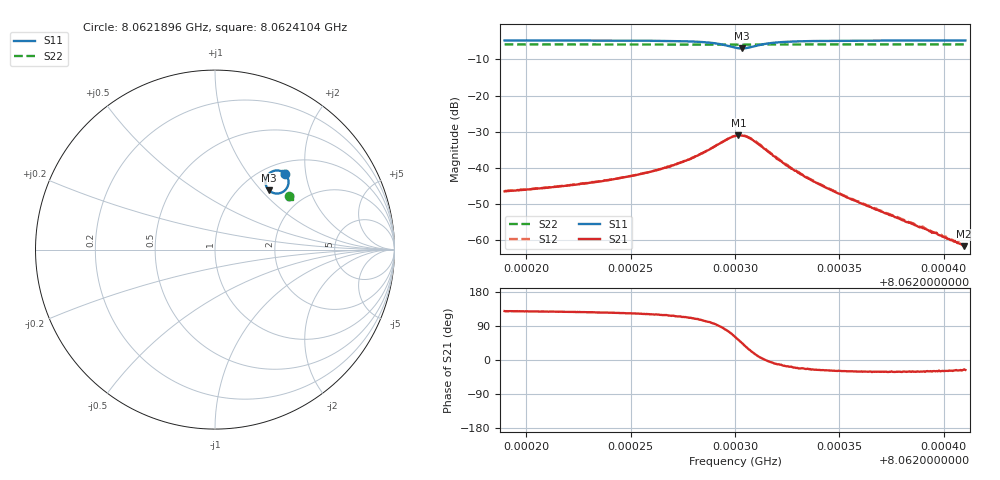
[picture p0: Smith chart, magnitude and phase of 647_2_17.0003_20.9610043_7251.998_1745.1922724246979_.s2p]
#  HZ  S  RI  R  50.00
! Rohde & Schwarz Vector Network Analyzer
! Rohde-Schwarz,ZNB20-2Port,1311601062101988,3.16
! Created: UTC 3/20/2024, 11:21:05 PM
! freq[Hz]  re:S11  im:S11  re:S21  im:S21  re:S12  im:S12  re:S22  im:S22
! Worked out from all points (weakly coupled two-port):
!   401 points, 8.0621896 GHz to 8.0624104 GHz, reference 50 ohm
!   highest |S21| = -31.01 dB at 8.0623017 GHz (marker M1); lowest = -61.6 dB at 8.0624099 GHz (marker M2)
!   lowest |S11| = -7.0 dB at 8.0623033 GHz (marker M3), VSWR 2.61, Z = 67 + j55.2 ohm
!   |S11| at or under -10 dB: nowhere
!   |S22| runs from -6.0 to -5.9 dB; largest |S21 - S12| = 0.0015
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8.06218962e9  0.3912 0.4223  -0.003 0.00369  -0.00279 0.00393  0.4099 0.301
8.06221004e9  0.394 0.4192  -0.00327 0.00419  -0.00302 0.00445  0.4105 0.3
8.0622266e9  0.3968 0.4156  -0.00358 0.00489  -0.00331 0.00516  0.4112 0.299
8.06224316e9  0.4003 0.4104  -0.00402 0.00584  -0.00366 0.00613  0.4119 0.2979
8.06226358e9  0.4058 0.3987  -0.00472 0.00829  -0.00424 0.00861  0.4126 0.2964
8.06226965e9  0.4078 0.3925  -0.00478 0.00964  -0.00424 0.00999  0.4128 0.2958
8.06227793e9  0.4097 0.38  -0.00473 0.0122  -0.00413 0.0125  0.4131 0.2948
8.06228897e9  0.4031 0.3482  -0.00249 0.0186  -0.00143 0.0189  0.4127 0.2932
8.06229449e9  0.3827 0.3243  0.00253 0.0232  0.00363 0.023  0.4116 0.2921
8.06230001e9  0.3346 0.3133  0.0132 0.0242  0.0143 0.0238  0.4096 0.2919
8.06230167e9  0.317 0.3189  0.0168 0.0226  0.0178 0.022  0.4091 0.2923
8.06230332e9  0.3012 0.3298  0.0198 0.0199  0.0211 0.019  0.4086 0.293
8.06230553e9  0.2864 0.3506  0.0226 0.015  0.0234 0.0141  0.4083 0.2939
8.06230829e9  0.2811 0.3788  0.0229 0.00882  0.0237 0.00785  0.4085 0.295
8.06231602e9  0.3052 0.4267  0.0166 -0.000956  0.0169 -0.0019  0.4103 0.2964
8.06232706e9  0.3382 0.4405  0.00926 -0.00299  0.00922 -0.00372  0.4123 0.296
8.06233699e9  0.3539 0.4404  0.00608 -0.0028  0.006 -0.00322  0.4133 0.2953
8.06235466e9  0.368 0.4369  0.00331 -0.0019  0.00327 -0.00212  0.4146 0.294
8.06237397e9  0.3758 0.4334  0.00192 -0.00116  0.00189 -0.00133  0.4154 0.2929
8.06239108e9  0.3802 0.4309  0.00124 -0.000748  0.00121 -0.000794  0.4161 0.292
8.06240985e9  0.3837 0.4286  0.000757 -0.000347  0.000741 -0.000448  0.4169 0.2909
8.0624104e9  0.3838 0.4287  0.000753 -0.000371  0.000716 -0.000429  0.4168 0.2909
